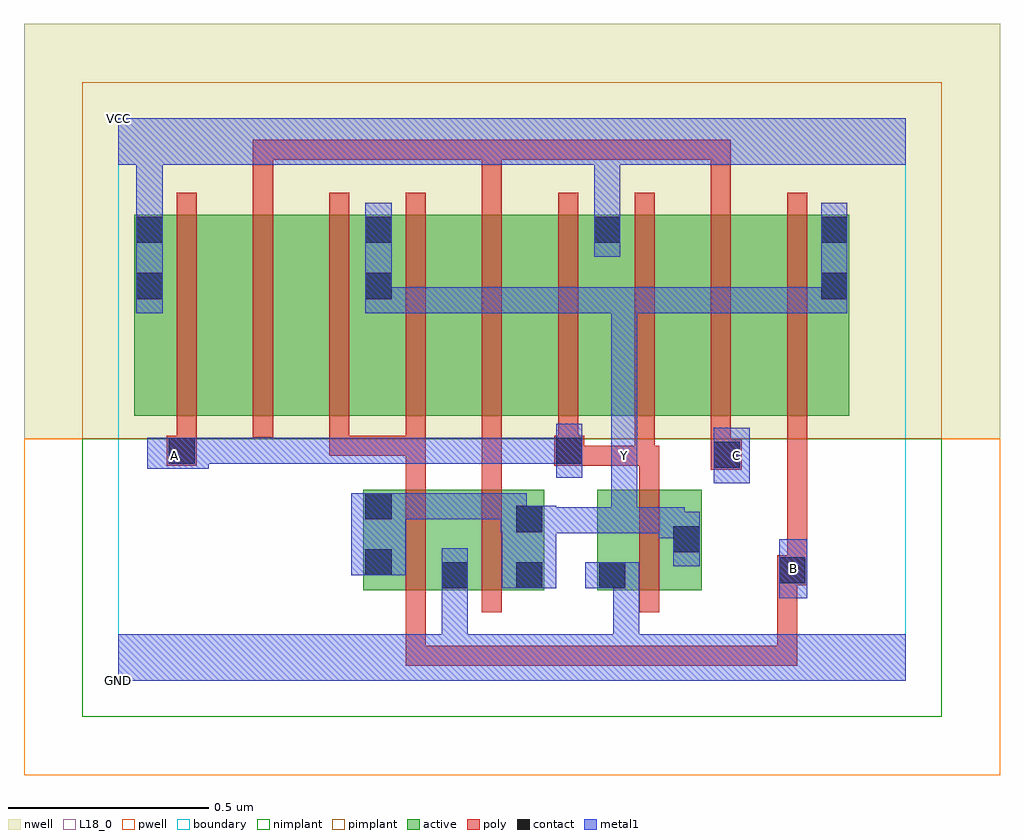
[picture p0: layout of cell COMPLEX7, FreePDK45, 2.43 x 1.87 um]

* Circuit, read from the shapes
.subckt COMPLEX7 A B C GND VCC Y
M1 GND B Y VSUBS nfet w=0.25u l=0.05u
M2 Y C GND VSUBS nfet w=0.25u l=0.05u
M3 Y A GND VSUBS nfet w=0.25u l=0.05u
M4 n1 A VCC n2 pfet w=0.5u l=0.05u
M5 n3 C n1 n2 pfet w=0.5u l=0.05u
M6 Y B n3 n2 pfet w=0.5u l=0.05u
M7 n4 B Y n2 pfet w=0.5u l=0.05u
M8 n5 C n4 n2 pfet w=0.5u l=0.05u
M9 VCC A n5 n2 pfet w=0.5u l=0.05u
M10 n6 A VCC n2 pfet w=0.5u l=0.05u
M11 n7 C n6 n2 pfet w=0.5u l=0.05u
M12 Y B n7 n2 pfet w=0.5u l=0.05u
.ends

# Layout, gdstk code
import gdstk
lib = gdstk.Library(unit=1e-6, precision=1e-09)
def R(c, l, rs):  # rectangles x0, y0, x1, y1
    for r in rs: c.add(gdstk.rectangle(r[:2], r[2:], *l))
def A(c, l, x, y, w, h, nx, ny, dx, dy):  # array of equal rectangles
    R(c, l, [(x+i*dx, y+j*dy, x+i*dx+w, y+j*dy+h) for i in range(nx) for j in range(ny)])
active = (1, 0)
pwell = (2, 0)
nwell = (3, 0)
nimplant = (4, 0)
pimplant = (5, 0)
poly = (9, 0)
contact = (10, 0)
metal1 = (11, 0)
L18_0 = (18, 0)
boundary = (235, 0)

complex7 = lib.new_cell('COMPLEX7')
A(complex7, active, 0.04, 0.66, 0.225, 0.5, 3, 1, 0.57, 0)
A(complex7, active, 0.265, 0.66, 0.19, 0.5, 3, 1, 0.57, 0)
R(complex7, active, [(0.61,0.225,0.875,0.475), (0.8,0.225,1.06,0.475), (0.8,0.225,0.875,0.387), (0.985,0.225,1.06,0.475), (1.192,0.225,1.452,0.475), (1.192,0.225,1.267,0.475), (0.61,0.257,0.685,0.475), (1.377,0.282,1.452,0.475), (0.04,0.66,0.115,1.16), (0.455,0.66,0.685,1.16), (1.025,0.66,1.255,1.16), (1.595,0.66,1.82,1.16), (1.745,0.66,1.82,1.16), (0.61,0.682,0.685,1.16), (1.18,0.682,1.255,1.16)])
R(complex7, pwell, [(-0.235,-0.235,2.195,0.602)])
R(complex7, nwell, [(-0.235,0.602,2.195,1.635)])
R(complex7, nimplant, [(-0.09,-0.09,2.05,0.602)])
R(complex7, pimplant, [(-0.09,0.602,2.05,1.49)])
A(complex7, poly, 0.525, 0.56, 0.05, 0.05, 3, 1, 0.19, 0)
A(complex7, poly, 0.525, 0.56, 0.05, 0.095, 4, 1, 0.19, 0)
A(complex7, poly, 0.145, 0.605, 0.05, 0.61, 9, 1, 0.19, 0)
A(complex7, poly, 0.335, 1.165, 0.05, 0.182, 3, 1, 0.57, 0)
R(complex7, poly, [(0.715,0.037,0.765,0.087), (0.715,0.037,0.765,0.087), (0.715,0.037,0.765,0.087), (0.715,0.037,1.002,0.087), (0.715,0.037,0.765,0.22), (0.952,0.037,1.002,0.087), (0.952,0.037,1.202,0.087), (1.152,0.037,1.202,0.087), (1.152,0.037,1.202,0.087), (1.152,0.037,1.202,0.087), (1.152,0.037,1.335,0.087), (1.285,0.037,1.335,0.087), (1.285,0.037,1.335,0.087), (1.285,0.037,1.335,0.087), (1.285,0.037,1.557,0.087), (1.507,0.037,1.557,0.087), (1.507,0.037,1.557,0.087), (1.507,0.037,1.557,0.087), (1.507,0.037,1.69,0.087), (1.64,0.037,1.69,0.287), (1.64,0.037,1.69,0.087), (1.64,0.037,1.69,0.087), (1.64,0.037,1.69,0.087), (1.64,0.037,1.69,0.087), (1.64,0.037,1.69,0.087), (1.64,0.037,1.69,0.087), (1.64,0.037,1.69,0.087), (0.715,0.17,0.765,0.53), (0.905,0.17,0.955,0.53), (1.297,0.17,1.347,0.53), (1.64,0.237,1.715,0.312), (1.665,0.262,1.715,0.655), (0.715,0.48,0.765,0.61), (0.905,0.48,0.955,0.61), (1.297,0.48,1.347,0.585), (1.475,0.525,1.552,0.6), (0.12,0.535,0.195,0.61), (1.085,0.535,1.16,0.61), (1.11,0.535,1.335,0.585), (1.285,0.535,1.335,0.585), (1.285,0.535,1.335,0.585), (1.285,0.535,1.335,0.655), (1.285,0.535,1.347,0.585), (1.475,0.55,1.525,0.655), (0.145,0.56,0.195,0.655), (0.525,0.56,0.575,0.61), (0.525,0.56,0.575,0.61), (0.525,0.56,0.765,0.61), (0.335,1.297,0.385,1.347), (0.335,1.297,0.385,1.347), (0.335,1.297,0.385,1.347), (0.335,1.297,0.575,1.347), (0.525,1.297,0.575,1.347), (0.525,1.297,0.575,1.347), (0.525,1.297,0.575,1.347), (0.525,1.297,0.707,1.347), (0.657,1.297,0.707,1.347), (0.657,1.297,0.707,1.347), (0.657,1.297,0.707,1.347), (0.657,1.297,0.955,1.347), (0.905,1.297,0.955,1.347), (0.905,1.297,0.955,1.347), (0.905,1.297,0.955,1.347), (0.905,1.297,1.202,1.347), (1.152,1.297,1.202,1.347), (1.152,1.297,1.392,1.347), (1.342,1.297,1.392,1.347), (1.342,1.297,1.392,1.347), (1.342,1.297,1.392,1.347), (1.342,1.297,1.525,1.347), (1.475,1.297,1.525,1.347), (1.475,1.297,1.525,1.347), (1.475,1.297,1.525,1.347)])
A(complex7, contact, 0.045, 1.09, 0.065, 0.065, 3, 1, 0.57, 0)
R(complex7, contact, [(0.805,0.23,0.87,0.295), (0.99,0.23,1.055,0.295), (1.197,0.23,1.262,0.295), (1.645,0.242,1.71,0.307), (0.615,0.262,0.68,0.327), (1.382,0.32,1.447,0.385), (0.99,0.37,1.055,0.435), (0.615,0.402,0.68,0.467), (1.482,0.53,1.547,0.595), (0.125,0.54,0.19,0.605), (1.09,0.54,1.155,0.605), (0.045,0.95,0.11,1.015), (0.615,0.95,0.68,1.015), (1.75,0.95,1.815,1.015), (1.75,1.09,1.815,1.155)])
R(complex7, metal1, [(0,0,1.96,0.115), (0.805,0.05,0.87,0.247), (1.232,0.05,1.297,0.115), (1.232,0.05,1.297,0.115), (1.232,0.05,1.297,0.115), (1.232,0.05,1.297,0.115), (1.232,0.05,1.297,0.295), (0.805,0.182,0.87,0.247), (0.805,0.182,0.87,0.247), (0.805,0.182,0.87,0.26), (0.805,0.195,0.87,0.26), (0.805,0.195,0.87,0.33), (1.645,0.205,1.715,0.352), (0.955,0.23,1.09,0.435), (1.162,0.23,1.297,0.295), (0.58,0.262,0.715,0.467), (1.382,0.285,1.447,0.42), (1.345,0.355,1.447,0.42), (1.345,0.355,1.41,0.432), (1.025,0.367,1.155,0.432), (1.09,0.367,1.155,0.432), (1.09,0.367,1.292,0.432), (1.227,0.367,1.292,0.432), (1.227,0.367,1.41,0.432), (1.227,0.367,1.292,0.557), (0.952,0.37,1.02,0.435), (0.952,0.37,1.017,0.467), (0.65,0.402,0.852,0.467), (0.787,0.402,0.852,0.467), (0.787,0.402,0.852,0.467), (0.787,0.402,0.852,0.467), (0.787,0.402,1.017,0.467), (1.227,0.492,1.292,0.627), (1.482,0.492,1.572,0.63), (1.09,0.505,1.155,0.64), (0.072,0.527,0.225,0.605), (0.16,0.54,0.225,0.605), (0.16,0.54,0.225,0.605), (0.16,0.54,0.362,0.605), (0.297,0.54,0.362,0.605), (0.297,0.54,0.362,0.605), (0.297,0.54,0.362,0.605), (0.297,0.54,0.5,0.605), (0.435,0.54,0.5,0.605), (0.435,0.54,0.5,0.605), (0.435,0.54,0.5,0.605), (0.435,0.54,0.852,0.605), (0.787,0.54,0.852,0.605), (0.787,0.54,0.852,0.605), (0.787,0.54,0.852,0.605), (0.787,0.54,0.99,0.605), (0.925,0.54,0.99,0.605), (0.925,0.54,1.09,0.605), (1.025,0.54,1.09,0.605), (1.025,0.54,1.155,0.605), (1.227,0.562,1.292,0.98), (0.045,0.915,0.11,1.19), (0.615,0.915,0.68,1.19), (0.615,0.915,0.852,0.98), (0.787,0.915,0.852,0.98), (0.787,0.915,0.852,0.98), (0.787,0.915,0.852,0.98), (0.787,0.915,0.99,0.98), (0.925,0.915,0.99,0.98), (0.925,0.915,0.99,0.98), (0.925,0.915,0.99,0.98), (0.925,0.915,1.155,0.98), (1.09,0.915,1.155,0.98), (1.09,0.915,1.292,0.98), (1.227,0.915,1.292,0.98), (1.227,0.915,1.292,0.98), (1.227,0.915,1.292,0.98), (1.227,0.915,1.43,0.98), (1.365,0.915,1.43,0.98), (1.365,0.915,1.567,0.98), (1.502,0.915,1.567,0.98), (1.502,0.915,1.567,0.98), (1.502,0.915,1.567,0.98), (1.502,0.915,1.815,0.98), (1.75,0.915,1.815,0.98), (1.75,0.915,1.815,0.98), (1.75,0.915,1.815,1.19), (1.185,1.055,1.25,1.19), (0.045,1.125,0.11,1.35), (1.185,1.125,1.25,1.19), (1.185,1.125,1.25,1.19), (1.185,1.125,1.25,1.35), (0,1.285,1.96,1.4), (0.045,1.285,0.11,1.35), (0.045,1.285,0.11,1.35)])
R(complex7, L18_0, [(0,0,1.96,0.115), (0.805,0.05,0.87,0.247), (1.232,0.05,1.297,0.115), (1.232,0.05,1.297,0.115), (1.232,0.05,1.297,0.115), (1.232,0.05,1.297,0.115), (1.232,0.05,1.297,0.295), (0.805,0.182,0.87,0.247), (0.805,0.182,0.87,0.247), (0.805,0.182,0.87,0.26), (0.805,0.195,0.87,0.26), (0.805,0.195,0.87,0.33), (1.645,0.205,1.715,0.352), (0.955,0.23,1.09,0.435), (1.162,0.23,1.297,0.295), (1.647,0.247,1.712,0.312), (0.58,0.262,0.715,0.467), (1.382,0.285,1.447,0.42), (1.345,0.355,1.41,0.432), (1.345,0.355,1.447,0.42), (1.025,0.367,1.155,0.432), (1.09,0.367,1.155,0.432), (1.09,0.367,1.292,0.432), (1.227,0.367,1.292,0.432), (1.227,0.367,1.292,0.557), (1.227,0.367,1.41,0.432), (0.952,0.37,1.017,0.467), (0.952,0.37,1.02,0.435), (0.65,0.402,0.852,0.467), (0.787,0.402,0.852,0.467), (0.787,0.402,0.852,0.467), (0.787,0.402,0.852,0.467), (0.787,0.402,1.017,0.467), (1.227,0.492,1.292,0.627), (1.482,0.492,1.572,0.63), (1.09,0.505,1.155,0.64), (0.072,0.527,0.225,0.605), (0.107,0.527,0.172,0.592), (1.227,0.527,1.292,0.592), (1.507,0.527,1.572,0.592), (0.16,0.54,0.225,0.605), (0.16,0.54,0.225,0.605), (0.16,0.54,0.362,0.605), (0.297,0.54,0.362,0.605), (0.297,0.54,0.362,0.605), (0.297,0.54,0.362,0.605), (0.297,0.54,0.5,0.605), (0.435,0.54,0.5,0.605), (0.435,0.54,0.5,0.605), (0.435,0.54,0.5,0.605), (0.435,0.54,0.852,0.605), (0.787,0.54,0.852,0.605), (0.787,0.54,0.852,0.605), (0.787,0.54,0.852,0.605), (0.787,0.54,0.99,0.605), (0.925,0.54,0.99,0.605), (0.925,0.54,1.09,0.605), (1.025,0.54,1.09,0.605), (1.025,0.54,1.155,0.605), (1.227,0.562,1.292,0.98), (0.045,0.915,0.11,1.19), (0.615,0.915,0.68,1.19), (0.615,0.915,0.852,0.98), (0.787,0.915,0.852,0.98), (0.787,0.915,0.852,0.98), (0.787,0.915,0.852,0.98), (0.787,0.915,0.99,0.98), (0.925,0.915,0.99,0.98), (0.925,0.915,0.99,0.98), (0.925,0.915,0.99,0.98), (0.925,0.915,1.155,0.98), (1.09,0.915,1.155,0.98), (1.09,0.915,1.292,0.98), (1.227,0.915,1.292,0.98), (1.227,0.915,1.292,0.98), (1.227,0.915,1.292,0.98), (1.227,0.915,1.43,0.98), (1.365,0.915,1.43,0.98), (1.365,0.915,1.567,0.98), (1.502,0.915,1.567,0.98), (1.502,0.915,1.567,0.98), (1.502,0.915,1.567,0.98), (1.502,0.915,1.815,0.98), (1.75,0.915,1.815,1.19), (1.75,0.915,1.815,0.98), (1.75,0.915,1.815,0.98), (1.185,1.055,1.25,1.19), (0.045,1.125,0.11,1.35), (1.185,1.125,1.25,1.19), (1.185,1.125,1.25,1.19), (1.185,1.125,1.25,1.35), (0,1.285,1.96,1.4), (0.045,1.285,0.11,1.35), (0.045,1.285,0.11,1.35)])
R(complex7, boundary, [(0,0,1.96,1.4)])
complex7.add(gdstk.Label('A', (0.14,0.56), layer=11, texttype=0))
complex7.add(gdstk.Label('B', (1.68,0.28), layer=11, texttype=0))
complex7.add(gdstk.Label('C', (1.54,0.56), layer=11, texttype=0))
complex7.add(gdstk.Label('Y', (1.26,0.56), layer=11, texttype=0))
complex7.add(gdstk.Label('VCC', (0,1.4), layer=11, texttype=0))
complex7.add(gdstk.Label('GND', (0,0), layer=11, texttype=0))

lib.write_gds('COMPLEX7.gds')
